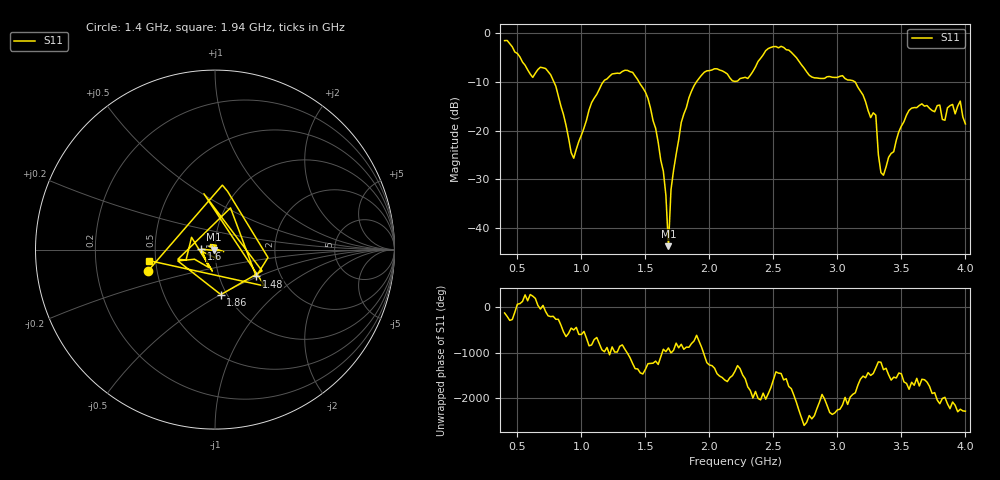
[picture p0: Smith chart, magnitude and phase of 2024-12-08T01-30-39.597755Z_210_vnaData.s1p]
!Created with skrf (http://scikit-rf.org).
# Hz S RI R 50.0
!freq ReS11 ImS11
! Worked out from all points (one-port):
!   181 points, 400 MHz to 4 GHz, reference 50 ohm
!   lowest |S11| = -43.7 dB at 1.68 GHz (marker M1), VSWR 1.01, Z = 49.4 - j0.0135 ohm
!   |S11| at or under -10 dB: 784.7 MHz to 1.171 GHz (386.7 MHz wide, 39.5 % of centre); 1.449 GHz to 1.899 GHz (450.2 MHz wide, 26.9 % of centre); 3.136 GHz to end of sweep
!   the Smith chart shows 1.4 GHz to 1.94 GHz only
!   S11 on the Smith chart (normalised r, x): 1.4 GHz: 0.44, -0.13; 1.48 GHz: 1.50, -0.49; 1.6 GHz: 0.86, +0.01; 1.86 GHz: 0.94, -0.50; 1.94 GHz: 0.46, -0.07
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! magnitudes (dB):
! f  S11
! 400 MHz  -1.6
! 620 MHz  -9.1
! 740 MHz  -7.9
! 860 MHz  -16.7
! 940 MHz  -25.7
! 1.08 GHz  -14.3
! 1.3 GHz  -8.3
! 1.4 GHz  -8.1
! 1.48 GHz  -11.3
! 1.6 GHz  -22.4
! 1.66 GHz  -33.2
! 1.68 GHz  -43.7
! 1.7 GHz  -32.1
! 1.76 GHz  -21.9
! 1.86 GHz  -11.9
! 1.94 GHz  -8.6
! 2.2 GHz  -9.9
! 2.46 GHz  -3.2
! 2.66 GHz  -4.5
! 2.8 GHz  -9.0
! 3.1 GHz  -9.7
! 3.3 GHz  -16.9
! 3.32 GHz  -24.9
! 3.36 GHz  -29.2
! 3.56 GHz  -15.9
! 3.84 GHz  -17.9
! 3.96 GHz  -14.0
! 4 GHz  -18.6
